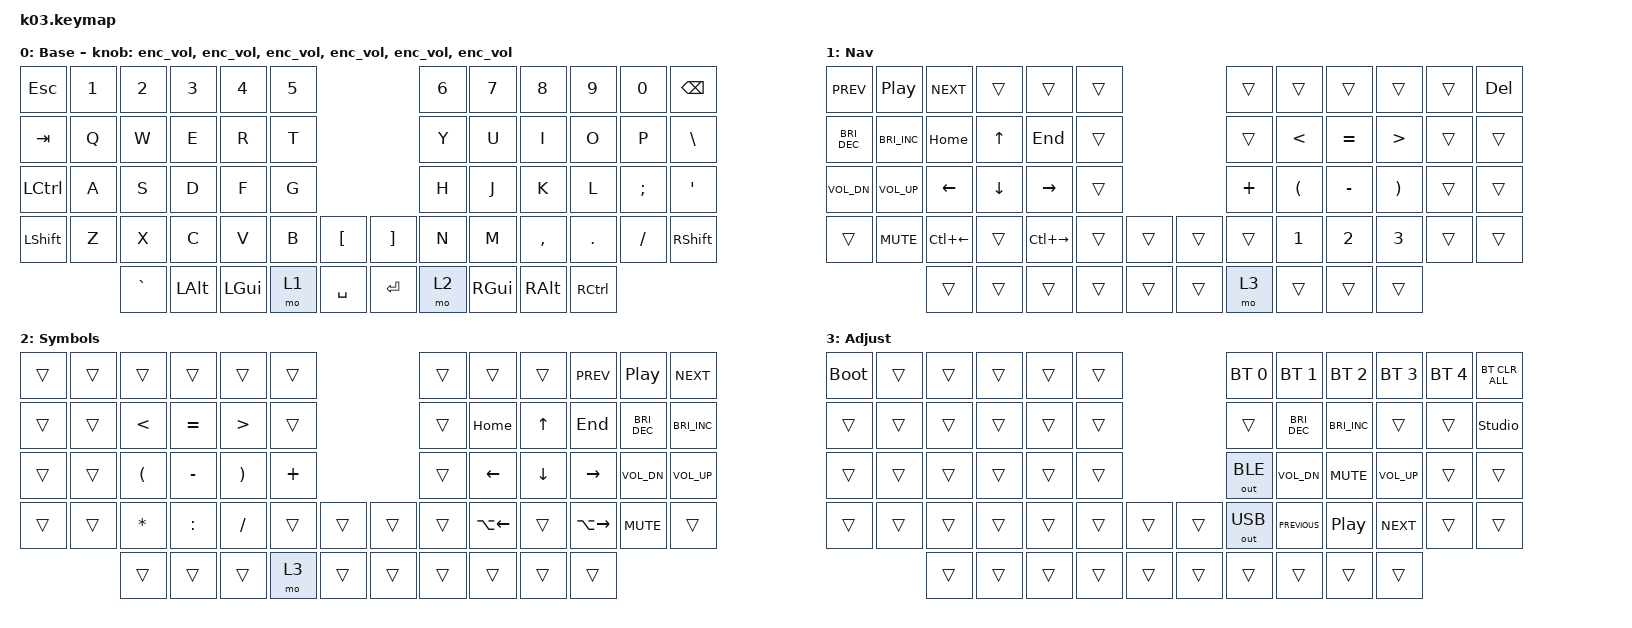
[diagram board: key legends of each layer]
#include "keys_ru.h"
#include <behaviors.dtsi>
#include <dt-bindings/zmk/bt.h>
#include <dt-bindings/zmk/keys.h>
#include <dt-bindings/zmk/outputs.h>

/ {
    behaviors {
        enc_vol: enc_vol {
            compatible = "zmk,behavior-sensor-rotate";
            label = "ENC_VOL";
            #sensor-binding-cells = <0>;
            bindings = <&kp C_VOL_UP>, <&kp C_VOL_DN>;
        };
    };

    keymap {
        compatible = "zmk,keymap";

        base {
            bindings = <
&kp ESC     &kp N1  &kp N2     &kp N3    &kp N4    &kp N5                          &kp N6  &kp N7    &kp N8     &kp N9     &kp N0    &kp BSPC
&kp TAB     &kp Q   &kp W      &kp E     &kp R     &kp T                           &kp Y   &kp U     &kp I      &kp O      &kp P     &kp BSLH
&kp LCTRL   &kp A   &kp S      &kp D     &kp F     &kp G                           &kp H   &kp J     &kp K      &kp L      &kp SEMI  &kp SQT
&kp LSHIFT  &kp Z   &kp X      &kp C     &kp V     &kp B   &kp LBKT     &kp RBKT   &kp N   &kp M     &kp COMMA  &kp DOT    &kp FSLH  &kp RSHFT
                    &kp GRAVE  &kp LALT  &kp LGUI  &mo 1   &kp SPACE    &kp ENTER  &mo 2   &kp RGUI  &kp RALT   &kp RCTRL
            >;

            display-name = "Base";
            sensor-bindings =
                <&enc_vol>,
                <&enc_vol>,
                <&enc_vol>,
                <&enc_vol>,
                <&enc_vol>,
                <&enc_vol>;
        };

        nav {
            bindings = <
&kp C_PREV            &kp C_PP              &kp C_NEXT    &trans    &trans         &trans                    &trans    &trans    &trans     &trans    &trans  &kp DEL
&kp C_BRIGHTNESS_DEC  &kp C_BRIGHTNESS_INC  &kp HOME      &kp UP    &kp END        &trans                    &trans    &kp LT    &kp EQUAL  &kp GT    &trans  &trans
&kp C_VOL_DN          &kp C_VOL_UP          &kp LEFT      &kp DOWN  &kp RIGHT      &trans                    &kp PLUS  &kp LPAR  &kp MINUS  &kp RPAR  &trans  &trans
&trans                &kp K_MUTE            &kp LC(LEFT)  &trans    &kp LC(RIGHT)  &trans  &trans    &trans  &trans    &kp N1    &kp N2     &kp N3    &trans  &trans
                                            &trans        &trans    &trans         &trans  &trans    &trans  &mo 3     &trans    &trans     &trans
            >;

            display-name = "Nav";
        };

        sym {
            bindings = <
&trans  &trans  &trans    &trans     &trans    &trans                      &trans  &trans        &trans    &kp C_PREV     &kp C_PLAY_PAUSE      &kp C_NEXT
&trans  &trans  &kp LT    &kp EQUAL  &kp GT    &trans                      &trans  &kp HOME      &kp UP    &kp END        &kp C_BRIGHTNESS_DEC  &kp C_BRIGHTNESS_INC
&trans  &trans  &kp LPAR  &kp MINUS  &kp RPAR  &kp PLUS                    &trans  &kp LEFT      &kp DOWN  &kp RIGHT      &kp C_VOL_DN          &kp C_VOL_UP
&trans  &trans  &kp STAR  &kp COLON  &kp FSLH  &trans    &trans    &trans  &trans  &kp LA(LEFT)  &trans    &kp LA(RIGHT)  &kp K_MUTE            &trans
                &trans    &trans     &trans    &mo 3     &trans    &trans  &trans  &trans        &trans    &trans
            >;

            display-name = "Symbols";
        };

        adj {
            bindings = <
&bootloader  &trans  &trans  &trans  &trans  &trans                    &bt BT_SEL 0  &bt BT_SEL 1          &bt BT_SEL 2          &bt BT_SEL 3  &bt BT_SEL 4  &bt BT_CLR_ALL
&trans       &trans  &trans  &trans  &trans  &trans                    &trans        &kp C_BRIGHTNESS_DEC  &kp C_BRIGHTNESS_INC  &trans        &trans        &studio_unlock
&trans       &trans  &trans  &trans  &trans  &trans                    &out OUT_BLE  &kp C_VOL_DN          &kp K_MUTE            &kp C_VOL_UP  &trans        &trans
&trans       &trans  &trans  &trans  &trans  &trans  &trans    &trans  &out OUT_USB  &kp C_PREVIOUS        &kp C_PLAY_PAUSE      &kp C_NEXT    &trans        &trans
                     &trans  &trans  &trans  &trans  &trans    &trans  &trans        &trans                &trans                &trans
            >;

            display-name = "Adjust";
        };
    };
};
